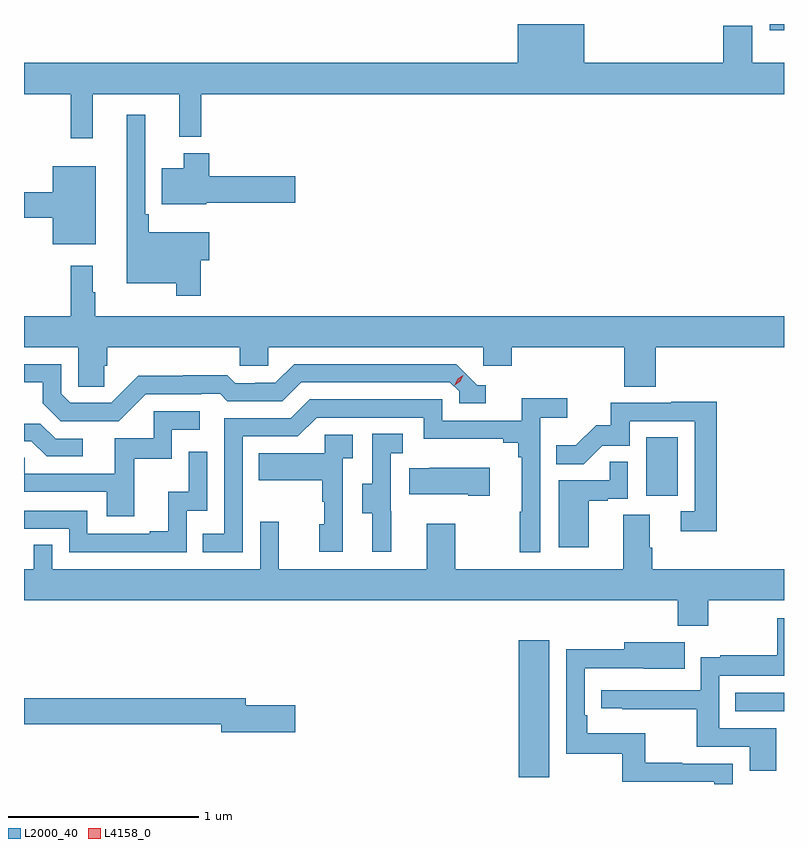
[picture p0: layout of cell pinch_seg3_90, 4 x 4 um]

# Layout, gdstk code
import gdstk
lib = gdstk.Library(unit=1e-6, precision=1e-09)
def R(c, l, rs):  # rectangles x0, y0, x1, y1
    for r in rs: c.add(gdstk.rectangle(r[:2], r[2:], *l))
def P(c, l, *ps):  # polygons
    for p in ps: c.add(gdstk.Polygon(p, *l))
L2000_40 = (2000, 40)
L4158_0 = (4158, 0)

pinch_seg3_90 = lib.new_cell('pinch_seg3_90')
R(pinch_seg3_90, L2000_40, [(1022.054,719.964,1022.215,720.685), (1023.193,720.312,1023.45,720.408), (1022.726,721.446,1022.89,721.753), (1023.374,723.896,1023.45,723.929)])
P(pinch_seg3_90, L2000_40, [(1019.813,723.56),(1020.266,723.56),(1020.266,723.335),(1020.383,723.335),(1020.383,723.56),(1023.45,723.56),(1023.45,723.724),(1023.283,723.724),(1023.283,723.919),(1023.131,723.919),(1023.131,723.724),(1022.398,723.724),(1022.398,723.929),(1022.048,723.929),(1022.048,723.724),(1019.45,723.724),(1019.45,723.56),(1019.695,723.56),(1019.695,723.327),(1019.813,723.327)],
  [(1020.38,722.686),(1020.424,722.686),(1020.424,722.833),(1020.107,722.833),(1020.107,722.929),(1020.087,722.929),(1020.087,723.451),(1019.99,723.451),(1019.99,722.564),(1020.252,722.564),(1020.252,722.499),(1020.38,722.499)],
  [(1020.408,722.987),(1020.877,722.987),(1020.877,723.129),(1020.425,723.129),(1020.425,723.25),(1020.29,723.25),(1020.29,723.169),(1020.176,723.169),(1020.176,722.981),(1020.408,722.981)],
  [(1019.827,723.181),(1019.6,723.181),(1019.6,723.044),(1019.45,723.044),(1019.45,722.908),(1019.6,722.908),(1019.6,722.771),(1019.827,722.771)],
  [(1019.824,722.516),(1019.812,722.516),(1019.812,722.656),(1019.695,722.656),(1019.695,722.392),(1019.45,722.392),(1019.45,722.228),(1019.736,722.228),(1019.736,722.02),(1019.873,722.02),(1019.873,722.13),(1019.888,722.13),(1019.888,722.228),(1020.585,722.228),(1020.585,722.13),(1020.735,722.13),(1020.735,722.228),(1021.866,722.228),(1021.866,722.13),(1022.018,722.13),(1022.018,722.228),(1022.609,722.228),(1022.609,722.02),(1022.774,722.02),(1022.774,722.228),(1023.45,722.228),(1023.45,722.392),(1019.824,722.392)],
  [(1020.09,721.98),(1020.383,721.98),(1020.383,721.983),(1020.482,721.983),(1020.521,721.944),(1020.81,721.944),(1020.909,722.043),(1021.692,722.043),(1021.74,721.995),(1021.74,721.932),(1021.879,721.932),(1021.879,722.028),(1021.836,722.028),(1021.725,722.139),(1020.872,722.139),(1020.773,722.04),(1020.666,722.04),(1020.666,722.037),(1020.563,722.037),(1020.521,722.08),(1020.288,722.08),(1020.288,722.077),(1020.052,722.077),(1019.91,721.935),(1019.694,721.935),(1019.646,721.983),(1019.646,722.139),(1019.45,722.139),(1019.45,722.043),(1019.549,722.043),(1019.549,721.933),(1019.643,721.839),(1019.949,721.839)],
  [(1020.6,721.758),(1020.891,721.758),(1020.99,721.857),(1021.554,721.857),(1021.554,721.745),(1021.973,721.745),(1021.973,721.726),(1022.05,721.726),(1022.05,721.649),(1022.069,721.649),(1022.069,721.361),(1022.058,721.361),(1022.058,721.149),(1022.166,721.149),(1022.166,721.856),(1022.308,721.856),(1022.308,721.958),(1022.069,721.958),(1022.069,721.842),(1021.65,721.842),(1021.65,721.953),(1020.953,721.953),(1020.854,721.854),(1020.504,721.854),(1020.504,721.245),(1020.391,721.245),(1020.391,721.149),(1020.6,721.149)],
  [(1023.095,721.94),(1022.857,721.94),(1022.857,721.935),(1022.539,721.935),(1022.539,721.818),(1022.462,721.818),(1022.355,721.711),(1022.251,721.711),(1022.251,721.612),(1022.395,721.612),(1022.493,721.71),(1022.637,721.71),(1022.637,721.839),(1022.979,721.839),(1022.979,721.365),(1022.907,721.365),(1022.907,721.26),(1023.095,721.26)],
  [(1020.029,721.641),(1020.228,721.641),(1020.228,721.794),(1020.376,721.794),(1020.376,721.89),(1020.132,721.89),(1020.132,721.749),(1019.927,721.749),(1019.927,721.563),(1019.453,721.563),(1019.453,721.647),(1019.45,721.647),(1019.45,721.467),(1019.885,721.467),(1019.885,721.338),(1020.029,721.338)],
  [(1019.758,721.746),(1019.616,721.746),(1019.536,721.826),(1019.45,721.826),(1019.45,721.734),(1019.489,721.734),(1019.57,721.653),(1019.758,721.653)],
  [(1021.382,721.365),(1021.38,721.365),(1021.38,721.669),(1021.444,721.669),(1021.444,721.772),(1021.284,721.772),(1021.284,721.509),(1021.229,721.509),(1021.229,721.354),(1021.283,721.354),(1021.283,721.152),(1021.382,721.152)],
  [(1021.128,721.643),(1021.18,721.643),(1021.18,721.767),(1021.032,721.767),(1021.032,721.669),(1020.685,721.669),(1020.685,721.529),(1021.02,721.529),(1021.02,721.415),(1021.03,721.415),(1021.03,721.296),(1021.004,721.296),(1021.004,721.152),(1021.128,721.152)],
  [(1020.306,721.368),(1020.414,721.368),(1020.414,721.678),(1020.318,721.678),(1020.318,721.466),(1020.209,721.466),(1020.209,721.258),(1020.113,721.258),(1020.113,721.245),(1019.784,721.245),(1019.784,721.368),(1019.45,721.368),(1019.45,721.272),(1019.688,721.272),(1019.688,721.149),(1020.306,721.149)],
  [(1022.422,721.419),(1022.522,721.419),(1022.522,721.431),(1022.628,721.431),(1022.628,721.625),(1022.533,721.625),(1022.533,721.527),(1022.264,721.527),(1022.264,721.176),(1022.422,721.176)],
  [(1021.9,721.594),(1021.585,721.594),(1021.585,721.591),(1021.477,721.591),(1021.477,721.454),(1021.787,721.454),(1021.787,721.447),(1021.9,721.447)],
  [(1023.051,720.896),(1023.45,720.896),(1023.45,721.06),(1022.756,721.06),(1022.756,721.172),(1022.743,721.172),(1022.743,721.346),(1022.603,721.346),(1022.603,721.06),(1021.719,721.06),(1021.719,721.3),(1021.571,721.3),(1021.571,721.06),(1020.791,721.06),(1020.791,721.309),(1020.693,721.309),(1020.693,721.06),(1019.598,721.06),(1019.598,721.187),(1019.502,721.187),(1019.502,721.06),(1019.45,721.06),(1019.45,720.896),(1022.891,720.896),(1022.891,720.761),(1023.051,720.761)],
  [(1023.409,720.222),(1023.108,720.222),(1023.108,720.498),(1023.45,720.498),(1023.45,720.801),(1023.414,720.801),(1023.414,720.607),(1023.115,720.607),(1023.115,720.595),(1023.012,720.595),(1023.012,720.423),(1022.487,720.423),(1022.487,720.327),(1022.599,720.327),(1022.599,720.322),(1022.992,720.322),(1022.992,720.126),(1023.269,720.126),(1023.269,719.998),(1023.409,719.998)],
  [(1023.18,720.036),(1022.915,720.036),(1022.915,720.041),(1022.719,720.041),(1022.719,720.196),(1022.414,720.196),(1022.414,720.292),(1022.4,720.292),(1022.4,720.537),(1022.713,720.537),(1022.713,720.536),(1022.927,720.536),(1022.927,720.676),(1022.609,720.676),(1022.609,720.638),(1022.304,720.638),(1022.304,720.087),(1022.598,720.087),(1022.598,719.94),(1023.084,719.94),(1023.084,719.929),(1023.18,719.929)],
  [(1020.877,720.344),(1020.616,720.344),(1020.616,720.38),(1019.45,720.38),(1019.45,720.244),(1020.488,720.244),(1020.488,720.202),(1020.877,720.202)])
P(pinch_seg3_90, L4158_0, [(1021.716,722.029),(1021.716,722.029),(1021.732,722.062),(1021.763,722.081),(1021.763,722.081),(1021.763,722.081),(1021.747,722.048),(1021.716,722.029)])

lib.write_gds('pinch_seg3_90.gds')
